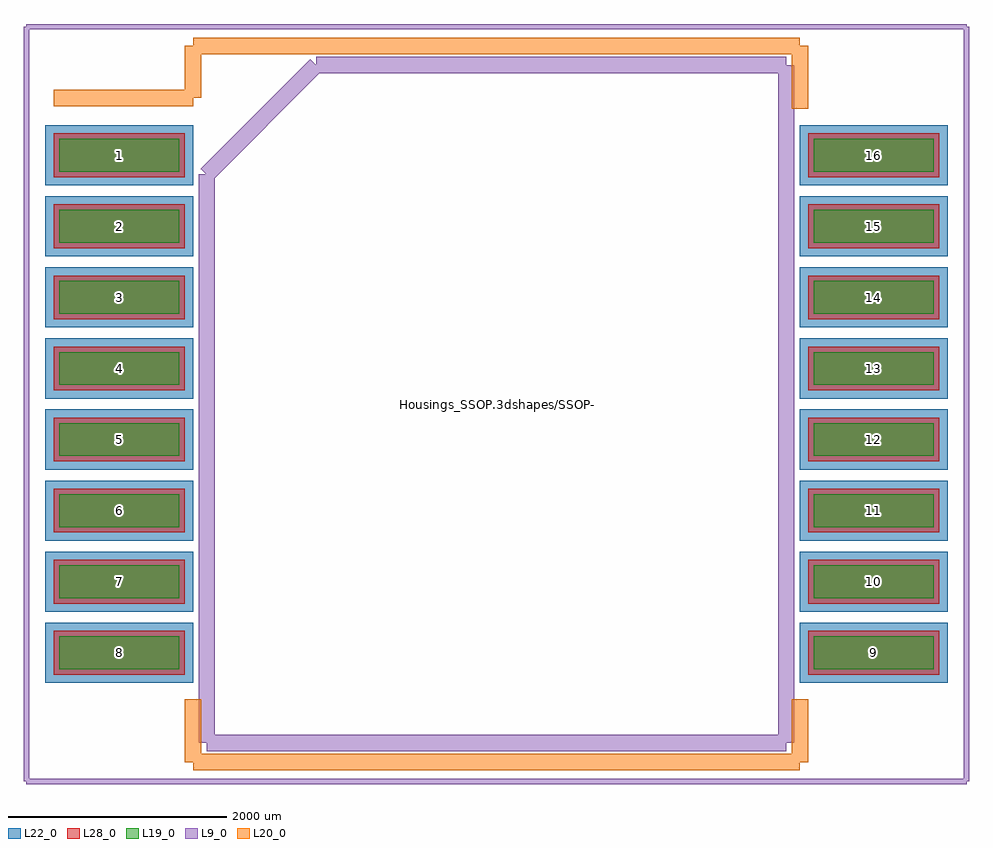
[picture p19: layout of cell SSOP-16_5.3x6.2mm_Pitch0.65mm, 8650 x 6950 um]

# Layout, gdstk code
import gdstk
lib = gdstk.Library(unit=1e-6, precision=1e-09)
def R(c, l, rs):  # rectangles x0, y0, x1, y1
    for r in rs: c.add(gdstk.rectangle(r[:2], r[2:], *l))
def A(c, l, x, y, w, h, nx, ny, dx, dy):  # array of equal rectangles
    R(c, l, [(x+i*dx, y+j*dy, x+i*dx+w, y+j*dy+h) for i in range(nx) for j in range(ny)])
L9_0 = (9, 0)
L19_0 = (19, 0)
L20_0 = (20, 0)
L22_0 = (22, 0)
L28_0 = (28, 0)

ssop_16_5_3x6_2mm_pitch0 = lib.new_cell('SSOP-16_5.3x6.2mm_Pitch0.65mm')
A(ssop_16_5_3x6_2mm_pitch0, L19_0, -4000, -2425, 1100, 300, 1, 8, 0, 650)
A(ssop_16_5_3x6_2mm_pitch0, L19_0, 2900, -2425, 1100, 300, 1, 8, 0, 650)
A(ssop_16_5_3x6_2mm_pitch0, L22_0, -4125, -2550, 1350, 550, 1, 8, 0, 650)
A(ssop_16_5_3x6_2mm_pitch0, L22_0, 2775, -2550, 1350, 550, 1, 8, 0, 650)
A(ssop_16_5_3x6_2mm_pitch0, L28_0, -4050, -2475, 1200, 400, 1, 8, 0, 650)
A(ssop_16_5_3x6_2mm_pitch0, L28_0, 2850, -2475, 1200, 400, 1, 8, 0, 650)
ssop_16_5_3x6_2mm_pitch0.add(gdstk.FlexPath([(-2775,2800),(-4050,2800)], 149.998, ends="flush", simple_path=True, layer=20, datatype=0))  # L20_0
ssop_16_5_3x6_2mm_pitch0.add(gdstk.FlexPath([(-2775,-3275),(2775,-3275)], 149.998, ends="flush", simple_path=True, layer=20, datatype=0))  # L20_0
ssop_16_5_3x6_2mm_pitch0.add(gdstk.FlexPath([(-2775,3275),(2775,3275)], 149.998, ends="flush", simple_path=True, layer=20, datatype=0))  # L20_0
ssop_16_5_3x6_2mm_pitch0.add(gdstk.FlexPath([(-2775,-3275),(-2775,-2700)], 149.998, ends="flush", simple_path=True, layer=20, datatype=0))  # L20_0
ssop_16_5_3x6_2mm_pitch0.add(gdstk.FlexPath([(2775,-3275),(2775,-2700)], 149.998, ends="flush", simple_path=True, layer=20, datatype=0))  # L20_0
ssop_16_5_3x6_2mm_pitch0.add(gdstk.FlexPath([(2775,3275),(2775,2700)], 149.998, ends="flush", simple_path=True, layer=20, datatype=0))  # L20_0
ssop_16_5_3x6_2mm_pitch0.add(gdstk.FlexPath([(-2775,3275),(-2775,2800)], 149.998, ends="flush", simple_path=True, layer=20, datatype=0))  # L20_0
ssop_16_5_3x6_2mm_pitch0.add(gdstk.FlexPath([(-4300,-3450),(4300,-3450)], 50, ends="flush", simple_path=True, layer=9, datatype=0))  # L9_0
ssop_16_5_3x6_2mm_pitch0.add(gdstk.FlexPath([(-4300,3450),(4300,3450)], 50, ends="flush", simple_path=True, layer=9, datatype=0))  # L9_0
ssop_16_5_3x6_2mm_pitch0.add(gdstk.FlexPath([(4300,3450),(4300,-3450)], 50, ends="flush", simple_path=True, layer=9, datatype=0))  # L9_0
ssop_16_5_3x6_2mm_pitch0.add(gdstk.FlexPath([(-4300,3450),(-4300,-3450)], 50, ends="flush", simple_path=True, layer=9, datatype=0))  # L9_0
ssop_16_5_3x6_2mm_pitch0.add(gdstk.FlexPath([(-2650,2100),(-1650,3100)], 149.998, ends="flush", simple_path=True, layer=9, datatype=0))  # L9_0
ssop_16_5_3x6_2mm_pitch0.add(gdstk.FlexPath([(-2650,-3100),(-2650,2100)], 149.998, ends="flush", simple_path=True, layer=9, datatype=0))  # L9_0
ssop_16_5_3x6_2mm_pitch0.add(gdstk.FlexPath([(2650,-3100),(-2650,-3100)], 149.998, ends="flush", simple_path=True, layer=9, datatype=0))  # L9_0
ssop_16_5_3x6_2mm_pitch0.add(gdstk.FlexPath([(2650,3100),(2650,-3100)], 149.998, ends="flush", simple_path=True, layer=9, datatype=0))  # L9_0
ssop_16_5_3x6_2mm_pitch0.add(gdstk.FlexPath([(-1650,3100),(2650,3100)], 149.998, ends="flush", simple_path=True, layer=9, datatype=0))  # L9_0
ssop_16_5_3x6_2mm_pitch0.add(gdstk.Label('Housings_SSOP.3dshapes/SSOP-16_5.3x6.2mm_Pitch0.65mm.wrl', (0,0), layer=12, texttype=0))
ssop_16_5_3x6_2mm_pitch0.add(gdstk.Label('16', (3450,2275), layer=28, texttype=0))
ssop_16_5_3x6_2mm_pitch0.add(gdstk.Label('15', (3450,1625), layer=28, texttype=0))
ssop_16_5_3x6_2mm_pitch0.add(gdstk.Label('14', (3450,975), layer=28, texttype=0))
ssop_16_5_3x6_2mm_pitch0.add(gdstk.Label('13', (3450,325), layer=28, texttype=0))
ssop_16_5_3x6_2mm_pitch0.add(gdstk.Label('12', (3450,-325), layer=28, texttype=0))
ssop_16_5_3x6_2mm_pitch0.add(gdstk.Label('11', (3450,-975), layer=28, texttype=0))
ssop_16_5_3x6_2mm_pitch0.add(gdstk.Label('10', (3450,-1625), layer=28, texttype=0))
ssop_16_5_3x6_2mm_pitch0.add(gdstk.Label('9', (3450,-2275), layer=28, texttype=0))
ssop_16_5_3x6_2mm_pitch0.add(gdstk.Label('8', (-3450,-2275), layer=28, texttype=0))
ssop_16_5_3x6_2mm_pitch0.add(gdstk.Label('7', (-3450,-1625), layer=28, texttype=0))
ssop_16_5_3x6_2mm_pitch0.add(gdstk.Label('6', (-3450,-975), layer=28, texttype=0))
ssop_16_5_3x6_2mm_pitch0.add(gdstk.Label('5', (-3450,-325), layer=28, texttype=0))
ssop_16_5_3x6_2mm_pitch0.add(gdstk.Label('4', (-3450,325), layer=28, texttype=0))
ssop_16_5_3x6_2mm_pitch0.add(gdstk.Label('3', (-3450,975), layer=28, texttype=0))
ssop_16_5_3x6_2mm_pitch0.add(gdstk.Label('2', (-3450,1625), layer=28, texttype=0))
ssop_16_5_3x6_2mm_pitch0.add(gdstk.Label('1', (-3450,2275), layer=28, texttype=0))
ssop_16_5_3x6_2mm_pitch0.add(gdstk.Label('type', (0,-4200), layer=9, texttype=0))
ssop_16_5_3x6_2mm_pitch0.add(gdstk.Label('devicename', (0,4200), layer=9, texttype=0))

lib.write_gds('SSOP-16_5.3x6.2mm_Pitch0.65mm.gds')
